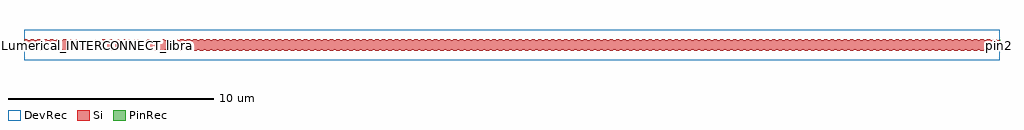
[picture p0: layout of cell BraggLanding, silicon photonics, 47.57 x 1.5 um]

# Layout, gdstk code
import gdstk
lib = gdstk.Library(unit=1e-6, precision=1e-09)
def R(c, l, rs):  # rectangles x0, y0, x1, y1
    for r in rs: c.add(gdstk.rectangle(r[:2], r[2:], *l))
def A(c, l, x, y, w, h, nx, ny, dx, dy):  # array of equal rectangles
    R(c, l, [(x+i*dx, y+j*dy, x+i*dx+w, y+j*dy+h) for i in range(nx) for j in range(ny)])
Si = (1, 0)
PinRec = (1, 10)
DevRec = (68, 0)

bragglanding = lib.new_cell('BraggLanding')
A(bragglanding, Si, 0, -0.275, 0.158, 0.275, 150, 2, 0.317, 0.275)
A(bragglanding, Si, 0.158, -0.225, 0.159, 0.225, 150, 2, 0.317, 0.225)
R(bragglanding, Si, [(47.54,-0.25,47.55,0.25)])
R(bragglanding, DevRec, [(0,-0.75,47.55,0.75)])
bragglanding.add(gdstk.FlexPath([(0.01,0),(-0.01,0)], 0.5, ends="flush", simple_path=True, layer=1, datatype=10))  # PinRec
bragglanding.add(gdstk.FlexPath([(47.54,0),(47.56,0)], 0.5, ends="flush", simple_path=True, layer=1, datatype=10))  # PinRec
bragglanding.add(gdstk.Label('Lumerical_INTERCONNECT_library=Design kits/ebeam', (0,0), layer=68, texttype=0))
bragglanding.add(gdstk.Label('Component=ebeam_bragg_te1550', (4.755,0), layer=68, texttype=0))
bragglanding.add(gdstk.Label('Spice_param:number_of_periods=150 grating_period=3.17e-07 corrugation_width=5e-08 misalignment=0 sinusoidal=0', (5.283,0), layer=68, texttype=0))
bragglanding.add(gdstk.Label('pin1', (0,0), layer=1, texttype=10))
bragglanding.add(gdstk.Label('pin2', (47.55,0), layer=1, texttype=10))

lib.write_gds('BraggLanding.gds')
